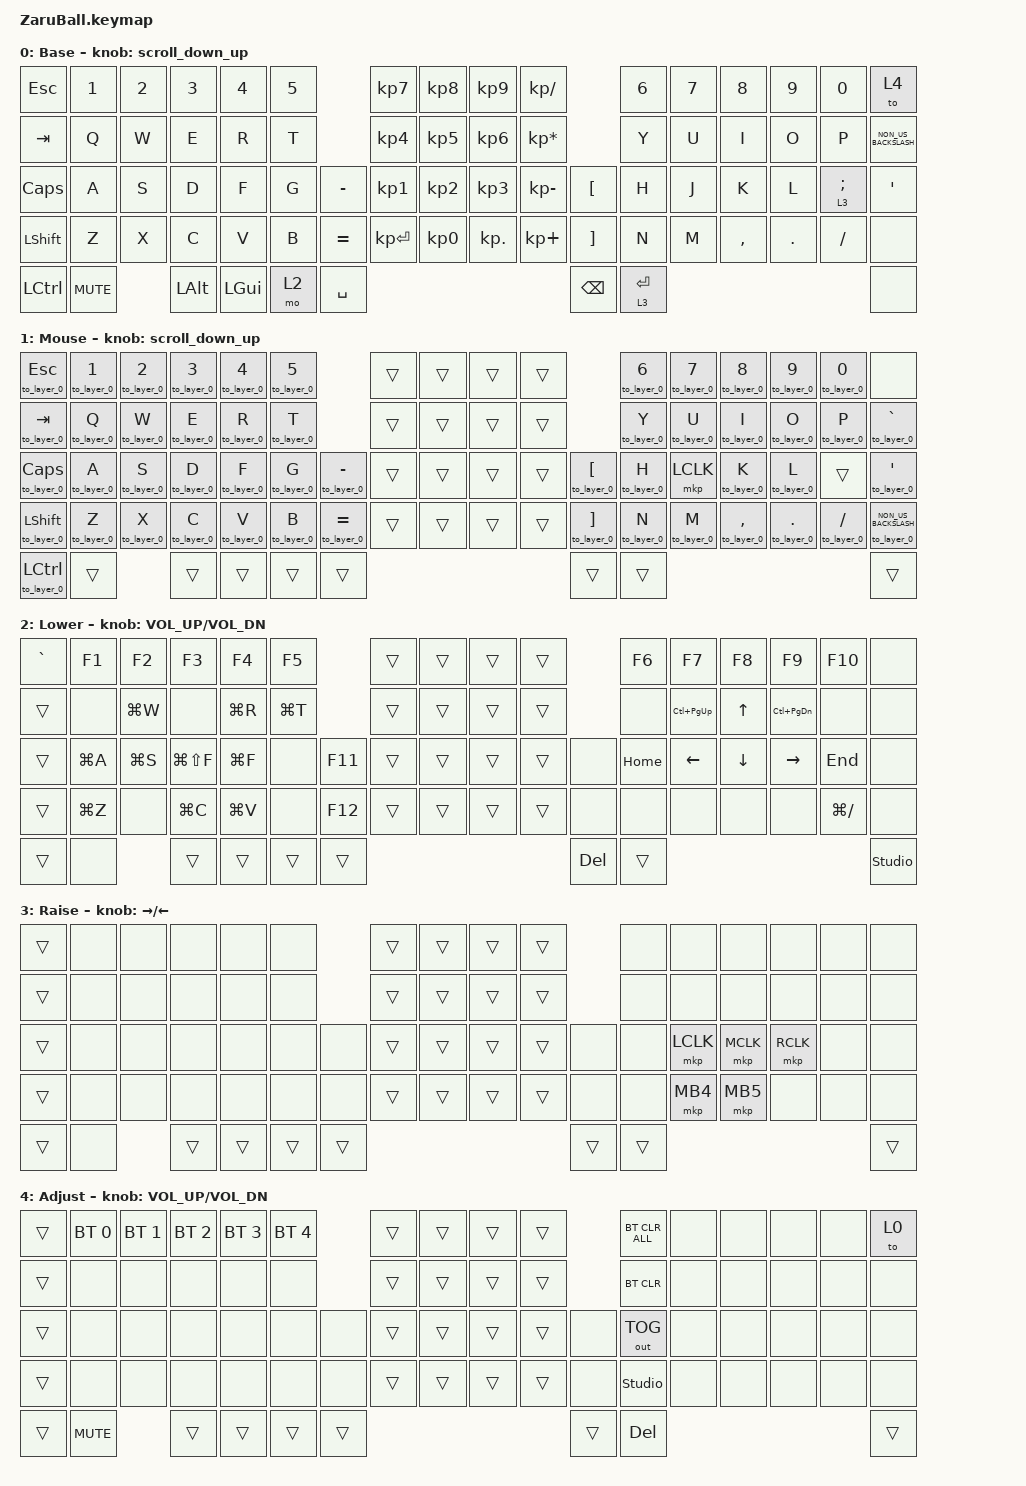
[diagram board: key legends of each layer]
//#include <dt-bindings/zmk/mouse.h>

#include <behaviors/rgbled_widget.dtsi>
#include <input/processors.dtsi>
#include <dt-bindings/zmk/input_transform.h>
#include <behaviors.dtsi>
#include <dt-bindings/zmk/bt.h>
#include <dt-bindings/zmk/keys.h>
#include <dt-bindings/zmk/outputs.h>
#include <dt-bindings/zmk/pointing.h>

#define BASE     0
#define MOUSE    1
#define LOWER    2
#define RAISE    3
#define ADJUST   4
#define SCROLL   2

// スクロール量の設定

#define ZMK_POINTING_DEFAULT_SCRL_VAL 100

&trackball_listener {
    input-processors = <
                         &zip_xy_transform (INPUT_TRANSFORM_XY_SWAP | INPUT_TRANSFORM_Y_INVERT | INPUT_TRANSFORM_X_INVERT)
                         &zip_temp_layer MOUSE 500
    >;

    scroller {
        layers = <SCROLL RAISE>;
        input-processors = <
                            &zip_xy_transform (INPUT_TRANSFORM_XY_SWAP | INPUT_TRANSFORM_X_INVERT)
                            &zip_xy_scaler 1 20
                            &zip_xy_to_scroll_mapper
        >;
    };
};

/ {
    conditional_layers { compatible = "zmk,conditional-layers"; };
};

/ {
    behaviors {
        // スクロール用のbehaviorの設定

        scroll_down_up: behavior_sensor_rotate_mouse_wheel_down_up {
            compatible = "zmk,behavior-sensor-rotate";
            #sensor-binding-cells = <0>;
            bindings = <&msc SCRL_DOWN>, <&msc SCRL_UP>;

            tap-ms = <20>; // スクロールのタップ時間
        };

        td0: tap_dance_0 {
            compatible = "zmk,behavior-tap-dance";
            #binding-cells = <0>;
            tapping-term-ms = <200>;
            bindings = <&to 4>, <&to 0>;
        };

        td1: tap_dance_1 {
            compatible = "zmk,behavior-tap-dance";
            #binding-cells = <0>;
            tapping-term-ms = <200>;
            bindings = <&kp LEFT_GUI>, <&kp LC(SPACE)>;
        };

        // Customed Hold-Tap for SandS

        SandS: SandS {
            compatible = "zmk,behavior-hold-tap";
            #binding-cells = <2>;
            flavor = "tap-unless-interrupted";
            tapping-term-ms = <500>;
            quick-tap-ms = <500>;
            bindings = <&kp>, <&kp>;

            display-name = "SandS";
        };
    };
};

&sl { release-after-ms = <250>; }; // time needed for double click (for mkp_exit_AML)
/ {
    macros {
        // When in AML, move to default layer when key (except mouse button) pressed

        to_layer_0: to_layer_0 {
            compatible = "zmk,behavior-macro-one-param";
            #binding-cells = <1>;
            bindings = <&tog 1 &macro_param_1to1 &kp MACRO_PLACEHOLDER>;
            label = "TO_layer_0";
        };

        // When LCLK pressed, exit AML (after 250ms cause by sticky layer

        mkp_exit_AML: mkp_exit_AML {
            compatible = "zmk,behavior-macro-one-param";
            #binding-cells = <1>;
            bindings =
                <&macro_press>,
                <&macro_param_1to1 &mkp MACRO_PLACEHOLDER>,
                <&macro_pause_for_release>,
                <&macro_release>,
                <&macro_param_1to1 &mkp MACRO_PLACEHOLDER>,
                <&macro_tap>,
                <&sl 1>;

            label = "MKP_EXIT_AML";
        };
    };
};

/ {
    combos {
        compatible = "zmk,combos";

        lang {
            bindings = <&kp LC(SPACE)>;
            key-positions = <72 75>;
        };
    };

    keymap {
        compatible = "zmk,keymap";

        base_layer {
            display-name = "Base";
            sensor-bindings = <&scroll_down_up>;
            bindings = <
&kp ESC    &kp N1      &kp N2  &kp N3        &kp N4        &kp N5               &kp KP_N7     &kp KP_N8  &kp KP_N9   &kp KP_DIVIDE                     &kp NUMBER_6  &kp N7  &kp N8     &kp N9   &kp N0           &to 4
&kp TAB    &kp Q       &kp W   &kp E         &kp R         &kp T                &kp KP_N4     &kp KP_N5  &kp KP_N6   &kp KP_MULTIPLY                   &kp Y         &kp U   &kp I      &kp O    &kp P            &kp NON_US_BACKSLASH
&kp CAPS   &kp A       &kp S   &kp D         &kp F         &kp G   &kp MINUS    &kp KP_N1     &kp KP_N2  &kp KP_N3   &kp KP_MINUS       &kp LBKT       &kp H         &kp J   &kp K      &kp L    &lt 3 SEMICOLON  &kp SQT
&kp LSHFT  &kp Z       &kp X   &kp C         &kp V         &kp B   &kp EQUAL    &kp KP_ENTER  &kp KP_N0  &kp KP_DOT  &kp KP_PLUS        &kp RBKT       &kp N         &kp M   &kp COMMA  &kp DOT  &kp FSLH         &none
&kp LCTRL  &kp C_MUTE          &kp LEFT_ALT  &kp LEFT_GUI  &mo 2   &kp SPACE                                                            &kp BACKSPACE  &lt 3 ENTER                                                &none
            >;
        };

        mouse_layer {
            display-name = "Mouse";
            sensor-bindings = <&scroll_down_up>;
            bindings = <
&to_layer_0 ESC     &to_layer_0 N1  &to_layer_0 N2  &to_layer_0 N3  &to_layer_0 N4  &to_layer_0 N5                       &trans  &trans  &trans  &trans                               &to_layer_0 N6  &to_layer_0 N7  &to_layer_0 N8     &to_layer_0 N9      &to_layer_0 N0     &none
&to_layer_0 TAB     &to_layer_0 Q   &to_layer_0 W   &to_layer_0 E   &to_layer_0 R   &to_layer_0 T                        &trans  &trans  &trans  &trans                               &to_layer_0 Y   &to_layer_0 U   &to_layer_0 I      &to_layer_0 O       &to_layer_0 P      &to_layer_0 GRAVE
&to_layer_0 CAPS    &to_layer_0 A   &to_layer_0 S   &to_layer_0 D   &to_layer_0 F   &to_layer_0 G   &to_layer_0 MINUS    &trans  &trans  &trans  &trans    &to_layer_0 LEFT_BRACKET   &to_layer_0 H   &mkp LCLK       &to_layer_0 K      &to_layer_0 L       &trans             &to_layer_0 SQT
&to_layer_0 LSHIFT  &to_layer_0 Z   &to_layer_0 X   &to_layer_0 C   &to_layer_0 V   &to_layer_0 B   &to_layer_0 EQUAL    &trans  &trans  &trans  &trans    &to_layer_0 RIGHT_BRACKET  &to_layer_0 N   &to_layer_0 M   &to_layer_0 COMMA  &to_layer_0 PERIOD  &to_layer_0 SLASH  &to_layer_0 NON_US_BACKSLASH
&to_layer_0 LCTRL   &trans                          &trans          &trans          &trans          &trans                                                 &trans                     &trans                                                                                    &trans
            >;
        };

        lower_layer {
            display-name = "Lower";
            sensor-bindings = <&inc_dec_kp C_VOL_UP C_VOL_DN>;
            bindings = <
&kp GRAVE  &kp F1     &kp F2     &kp F3         &kp F4     &kp F5                &trans  &trans  &trans  &trans                &kp F6    &kp F7           &kp F8          &kp F9             &kp F10        &none
&trans     &none      &kp LG(W)  &none          &kp LG(R)  &kp LG(T)             &trans  &trans  &trans  &trans                &none     &kp LC(PAGE_UP)  &kp UP_ARROW    &kp LC(PAGE_DOWN)  &none          &none
&trans     &kp LG(A)  &kp LG(S)  &kp LG(LS(F))  &kp LG(F)  &none      &kp F11    &trans  &trans  &trans  &trans    &none       &kp HOME  &kp LEFT         &kp DOWN_ARROW  &kp RIGHT          &kp END        &none
&trans     &kp LG(Z)  &none      &kp LG(C)      &kp LG(V)  &none      &kp F12    &trans  &trans  &trans  &trans    &none       &none     &none            &none           &none              &kp LG(SLASH)  &none
&trans     &none                 &trans         &trans     &trans     &trans                                       &kp DELETE  &trans                                                                       &studio_unlock
            >;
        };

        raise_layer {
            display-name = "Raise";
            sensor-bindings = <&inc_dec_kp RIGHT LEFT>;
            bindings = <
&trans  &none  &none  &none   &none   &none             &trans  &trans  &trans  &trans            &none   &none      &none      &none      &none  &none
&trans  &none  &none  &none   &none   &none             &trans  &trans  &trans  &trans            &none   &none      &none      &none      &none  &none
&trans  &none  &none  &none   &none   &none   &none     &trans  &trans  &trans  &trans    &none   &none   &mkp LCLK  &mkp MCLK  &mkp RCLK  &none  &none
&trans  &none  &none  &none   &none   &none   &none     &trans  &trans  &trans  &trans    &none   &none   &mkp MB4   &mkp MB5   &none      &none  &none
&trans  &none         &trans  &trans  &trans  &trans                                      &trans  &trans                                          &trans
            >;
        };

        adjust_layer {
            display-name = "Adjust";
            sensor-bindings = <&inc_dec_kp C_VOL_UP C_VOL_DN>;
            bindings = <
&trans  &bt BT_SEL 0  &bt BT_SEL 1  &bt BT_SEL 2  &bt BT_SEL 3  &bt BT_SEL 4            &trans  &trans  &trans  &trans            &bt BT_CLR_ALL  &none  &none  &none  &none  &to 0
&trans  &none         &none         &none         &none         &none                   &trans  &trans  &trans  &trans            &bt BT_CLR      &none  &none  &none  &none  &none
&trans  &none         &none         &none         &none         &none         &none     &trans  &trans  &trans  &trans    &none   &out OUT_TOG    &none  &none  &none  &none  &none
&trans  &none         &none         &none         &none         &none         &none     &trans  &trans  &trans  &trans    &none   &studio_unlock  &none  &none  &none  &none  &none
&trans  &kp C_MUTE                  &trans        &trans        &trans        &trans                                      &trans  &kp DEL                                     &trans
            >;
        };

        // Extra layer can be added in ZMK STUDIO
    };
};
